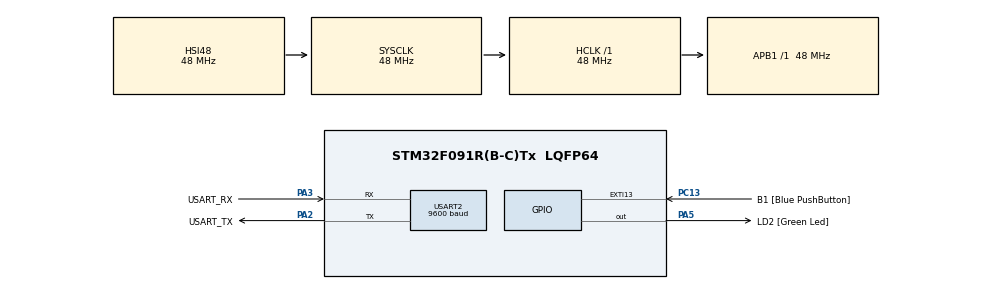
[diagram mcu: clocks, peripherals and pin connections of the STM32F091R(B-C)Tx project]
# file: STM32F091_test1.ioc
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Mcu.Family=STM32F0
Mcu.Name=STM32F091R(B-C)Tx
Mcu.Package=LQFP64
PA13.GPIO_Label=TMS
PA13.Signal=SYS_SWDIO
PA14.GPIO_Label=TCK
PA14.Signal=SYS_SWCLK
PA2.GPIO_Label=USART_TX
PA2.GPIO_Mode=GPIO_MODE_AF_PP
PA2.GPIO_PuPd=GPIO_NOPULL
PA2.GPIO_Speed=GPIO_SPEED_FREQ_LOW
PA2.Mode=Asynchronous
PA2.Signal=USART2_TX
PA3.GPIO_Label=USART_RX
PA3.GPIO_Mode=GPIO_MODE_AF_PP
PA3.GPIO_PuPd=GPIO_NOPULL
PA3.GPIO_Speed=GPIO_SPEED_FREQ_LOW
PA3.Mode=Asynchronous
PA3.Signal=USART2_RX
PA5.GPIO_Label=LD2 [Green Led]
PA5.GPIO_Mode=GPIO_MODE_OUTPUT_PP
PA5.GPIO_PuPd=GPIO_NOPULL
PA5.GPIO_Speed=GPIO_SPEED_FREQ_LOW
PA5.Signal=GPIO_Output
PC13.GPIO_Label=B1 [Blue PushButton]
PC13.GPIO_ModeDefaultEXTI=GPIO_MODE_IT_FALLING
PC13.Signal=GPXTI13
PC14OSC32_IN.Signal=RCC_OSC32_IN
PC15OSC32_OUT.Signal=RCC_OSC32_OUT
PF0-OSC_IN.Signal=RCC_OSC_IN
PF1-OSC_OUT.Signal=RCC_OSC_OUT
ProjectManager.HeapSize=0x200
ProjectManager.StackSize=0x400
ProjectManager.TargetToolchain=SW4STM32
RCC.AHBFreq_Value=48000000
RCC.APB1Freq_Value=48000000
RCC.APB1TimFreq_Value=48000000
RCC.FLatency-AdvancedSettings=FLASH_LATENCY_1
RCC.HCLKFreq_Value=48000000
RCC.PLLDivider=RCC_PREDIV_DIV2
RCC.PLLMUL=RCC_PLL_MUL12
RCC.PREFETCH_ENABLE-AdvancedSettings=1
RCC.SYSCLKFreq_VALUE=48000000
RCC.SYSCLKSource=RCC_SYSCLKSOURCE_HSI48
USART2.BaudRate=9600
USART2.VirtualMode-Asynchronous=VM_ASYNC
USART2.WordLength=WORDLENGTH_8B
board=NUCLEO-F091RC

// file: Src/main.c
/**
  ******************************************************************************
  * File Name          : main.c
  * Description        : Main program body
  ******************************************************************************
  ** This notice applies to any and all portions of this file
  * that are not between comment pairs USER CODE BEGIN and
  * USER CODE END. Other portions of this file, whether
  * inserted by the user or by software development tools
  * are owned by their respective copyright owners.
  *
  * COPYRIGHT(c) 2018 STMicroelectronics
  *
  * Redistribution and use in source and binary forms, with or without modification,
  * are permitted provided that the following conditions are met:
  *   1. Redistributions of source code must retain the above copyright notice,
  *      this list of conditions and the following disclaimer.
  *   2. Redistributions in binary form must reproduce the above copyright notice,
  *      this list of conditions and the following disclaimer in the documentation
  *      and/or other materials provided with the distribution.
  *   3. Neither the name of STMicroelectronics nor the names of its contributors
  *      may be used to endorse or promote products derived from this software
  *      without specific prior written permission.
  *
  * THIS SOFTWARE IS PROVIDED BY THE COPYRIGHT HOLDERS AND CONTRIBUTORS "AS IS"
  * AND ANY EXPRESS OR IMPLIED WARRANTIES, INCLUDING, BUT NOT LIMITED TO, THE
  * IMPLIED WARRANTIES OF MERCHANTABILITY AND FITNESS FOR A PARTICULAR PURPOSE ARE
  * DISCLAIMED. IN NO EVENT SHALL THE COPYRIGHT HOLDER OR CONTRIBUTORS BE LIABLE
  * FOR ANY DIRECT, INDIRECT, INCIDENTAL, SPECIAL, EXEMPLARY, OR CONSEQUENTIAL
  * DAMAGES (INCLUDING, BUT NOT LIMITED TO, PROCUREMENT OF SUBSTITUTE GOODS OR
  * SERVICES; LOSS OF USE, DATA, OR PROFITS; OR BUSINESS INTERRUPTION) HOWEVER
  * CAUSED AND ON ANY THEORY OF LIABILITY, WHETHER IN CONTRACT, STRICT LIABILITY,
  * OR TORT (INCLUDING NEGLIGENCE OR OTHERWISE) ARISING IN ANY WAY OUT OF THE USE
  * OF THIS SOFTWARE, EVEN IF ADVISED OF THE POSSIBILITY OF SUCH DAMAGE.
  *
  ******************************************************************************
  */

#include "main.h"
#include "stm32f0xx_hal.h"
#include "stdio.h";
#include <string.h>
/* USER CODE BEGIN Includes */

char aTxBuffer[1024]; // maximum of 1024 chars out - no error checking
char aRxBuffer[10]; // maximum of 10 chars in - no error checking

/* USER CODE END Includes */

UART_HandleTypeDef huart2;

/* USER CODE BEGIN PV */
/* Private variables ---------------------------------------------------------*/
typedef enum {
	pin_set,
	pin_reset
} state;

/* USER CODE END PV */

void SystemClock_Config(void);
static void MX_GPIO_Init(void);
static void MX_USART2_UART_Init(void);
void print_menu(void);

/* USER CODE BEGIN PFP */
/* Private function prototypes -----------------------------------------------*/

/* USER CODE END PFP */

int main(void)
{

  /* USER CODE BEGIN 1 */

	uint8_t spi_tx_data[2] = {0x00, 0x00}; //data,command = set to NOP command initially
	uint8_t spi_data=0;
	uint8_t spi_command=0;
	int8_t a=1;
	state npress = pin_reset;
	int16_t time=400;
	//char text[]="i am fast slow fun and \r\n";
	int f;

	// buffer to receive commands - no error checking
	uint8_t command_buffer[1024]; // set up command buffer & write pointer to it
	uint8_t command_buffer_rx=0;
	uint8_t command_received = 0; // set to 1 when we get a CR to indicate a command
	uint8_t value;

  /* USER CODE END 1 */

  /* MCU Configuration----------------------------------------------------------*/

  /* Reset of all peripherals, Initializes the Flash interface and the Systick. */
  HAL_Init();

  /* Configure the system clock */
  SystemClock_Config();

  /* Initialize all configured peripherals */
  MX_GPIO_Init();
  MX_USART2_UART_Init();

  /* USER CODE BEGIN 2 */
  spi_command=0;
  spi_data=0;
  spi_tx_data[1]=spi_command;
  spi_tx_data[0]=spi_data;

  /* print the menu */

  print_menu();

  /* USER CODE END 2 */

  /* Infinite loop */
  while (1)
  {
	  /* the line below is polling for the uart */
	  if (HAL_UART_Receive(&huart2,&aRxBuffer, 1, 10) == HAL_OK) // wait 10ms for a character
	  {
		  for (f=0;f<strlen(aRxBuffer);f++)
		  {
			  command_buffer[command_buffer_rx++] = aRxBuffer[f];
			  HAL_UART_Transmit(&huart2, &command_buffer[command_buffer_rx], 1, 100); //echo type

			  if (aRxBuffer[f] == 13) //CR
			  {
				  command_buffer[command_buffer_rx-1] = 0; // terminate string and remoce CR
				  command_received = 1; // indicate command ready to be processed
			  }
		  }

	  // if we have received a complete command ( terminated by CR ), echo it out
	 if (command_received != 0)
		  {
		 	// echo out the command
			sprintf(aTxBuffer, "Received: %s \n\r",command_buffer);
			HAL_UART_Transmit(&huart2, &aTxBuffer, strlen(aTxBuffer)+3, 5000);

			// no checking for command being formatted correctly
			// commands are:
			// pxx where xx = 00 to 99 - sets pwm width

			switch (command_buffer[0])
			{
			case 't':
				sprintf(aTxBuffer, "time is %d \n\r",time);
				HAL_UART_Transmit(&huart2,&aTxBuffer, strlen(aTxBuffer), 5000);
				break;
			case 'v':
				value = ((command_buffer[1]-'0') * 10) + (command_buffer[2]-'0');
				sprintf(aTxBuffer, "Averaging set to: %d\n\r",value);
				HAL_UART_Transmit(&huart2,&aTxBuffer, strlen(aTxBuffer), 5000);
				break;
			case '?':
				print_menu();
				break;

			default: // not recognised
				break;
			}
			// reset command buffer ready for the next command
			command_received = 0;
			command_buffer_rx = 0;
		  }
}
  /* USER CODE BEGIN 3 */
	  if(( HAL_GPIO_ReadPin(B1_GPIO_Port,B1_Pin)==GPIO_PIN_SET) && (npress==pin_reset) && (a<=3)){
	 		npress=pin_set;
	 			a++;
	 			sprintf(aTxBuffer, "time %d\n\r",time>>a);
	 			HAL_UART_Transmit(&huart2,&aTxBuffer,strlen(aTxBuffer)+2,0xFFF);
	 		 } else if( ( HAL_GPIO_ReadPin(B1_GPIO_Port,B1_Pin)==GPIO_PIN_SET) && (npress==pin_set)&& (a<=3)) {
	 			 npress=pin_set;
	 		 } else if ( ( HAL_GPIO_ReadPin(B1_GPIO_Port,B1_Pin)==GPIO_PIN_SET) && (npress==pin_set)&& (a>3)){
	 			 npress=pin_set;
	 			 a=1;
	 		 }

	 		 else {
	 			 npress =pin_reset;
	 		 }
	 		  HAL_GPIO_TogglePin(LD2_GPIO_Port, LD2_Pin); // Toggle the state of LED2
	 		  HAL_GPIO_TogglePin(GPIOC,GPIO_PIN_9);
	 		  HAL_Delay(time>>a); //delay 100ms

  /* USER CODE END 3 */

  }
}

/** System Clock Configuration
*/
void SystemClock_Config(void)
{

  RCC_OscInitTypeDef RCC_OscInitStruct;
  RCC_ClkInitTypeDef RCC_ClkInitStruct;
  RCC_PeriphCLKInitTypeDef PeriphClkInit;

    /**Initializes the CPU, AHB and APB busses clocks
    */
  RCC_OscInitStruct.OscillatorType = RCC_OSCILLATORTYPE_HSI48;
  RCC_OscInitStruct.HSI48State = RCC_HSI48_ON;
  RCC_OscInitStruct.PLL.PLLState = RCC_PLL_NONE;
  if (HAL_RCC_OscConfig(&RCC_OscInitStruct) != HAL_OK)
  {
    _Error_Handler(__FILE__, __LINE__);
  }

    /**Initializes the CPU, AHB and APB busses clocks
    */
  RCC_ClkInitStruct.ClockType = RCC_CLOCKTYPE_HCLK|RCC_CLOCKTYPE_SYSCLK
                              |RCC_CLOCKTYPE_PCLK1;
  RCC_ClkInitStruct.SYSCLKSource = RCC_SYSCLKSOURCE_HSI48;
  RCC_ClkInitStruct.AHBCLKDivider = RCC_SYSCLK_DIV1;
  RCC_ClkInitStruct.APB1CLKDivider = RCC_HCLK_DIV1;

  if (HAL_RCC_ClockConfig(&RCC_ClkInitStruct, FLASH_LATENCY_1) != HAL_OK)
  {
    _Error_Handler(__FILE__, __LINE__);
  }

  PeriphClkInit.PeriphClockSelection = RCC_PERIPHCLK_USART2;
  PeriphClkInit.Usart2ClockSelection = RCC_USART2CLKSOURCE_PCLK1;
  if (HAL_RCCEx_PeriphCLKConfig(&PeriphClkInit) != HAL_OK)
  {
    _Error_Handler(__FILE__, __LINE__);
  }

    /**Configure the Systick interrupt time
    */
  HAL_SYSTICK_Config(HAL_RCC_GetHCLKFreq()/1000);

    /**Configure the Systick
    */
  HAL_SYSTICK_CLKSourceConfig(SYSTICK_CLKSOURCE_HCLK);

  /* SysTick_IRQn interrupt configuration */
  HAL_NVIC_SetPriority(SysTick_IRQn, 0, 0);
}

/* USART2 init function */
static void MX_USART2_UART_Init(void)
{

  huart2.Instance = USART2;
  huart2.Init.BaudRate = 9600;
  huart2.Init.WordLength = UART_WORDLENGTH_8B;
  huart2.Init.StopBits = UART_STOPBITS_1;
  huart2.Init.Parity = UART_PARITY_NONE;
  huart2.Init.Mode = UART_MODE_TX_RX;
  huart2.Init.HwFlowCtl = UART_HWCONTROL_NONE;
  huart2.Init.OverSampling = UART_OVERSAMPLING_16;
  huart2.Init.OneBitSampling = UART_ONE_BIT_SAMPLE_DISABLE;
  huart2.AdvancedInit.AdvFeatureInit = UART_ADVFEATURE_NO_INIT;
  if (HAL_UART_Init(&huart2) != HAL_OK)
  {
    _Error_Handler(__FILE__, __LINE__);
  }

}

/** Configure pins as
        * Analog
        * Input
        * Output
        * EVENT_OUT
        * EXTI
*/
static void MX_GPIO_Init(void)
{

  GPIO_InitTypeDef GPIO_InitStruct;

  /* GPIO Ports Clock Enable */
  __HAL_RCC_GPIOC_CLK_ENABLE();
  __HAL_RCC_GPIOF_CLK_ENABLE();
  __HAL_RCC_GPIOA_CLK_ENABLE();

  /*Configure GPIO pin Output Level */
  HAL_GPIO_WritePin(LD2_GPIO_Port, LD2_Pin, GPIO_PIN_RESET);

  /*Configure GPIO pin : B1_Pin */
  GPIO_InitStruct.Pin = B1_Pin;
  GPIO_InitStruct.Mode = GPIO_MODE_IT_FALLING;
  GPIO_InitStruct.Pull = GPIO_NOPULL;
  HAL_GPIO_Init(B1_GPIO_Port, &GPIO_InitStruct);

  /*Configure GPIO pin : LD2_Pin */
  GPIO_InitStruct.Pin = LD2_Pin;
  GPIO_InitStruct.Mode = GPIO_MODE_OUTPUT_PP;
  GPIO_InitStruct.Pull = GPIO_NOPULL;
  GPIO_InitStruct.Speed = GPIO_SPEED_FREQ_LOW;
  HAL_GPIO_Init(LD2_GPIO_Port, &GPIO_InitStruct);

}

void print_menu (void){
	sprintf(aTxBuffer, "pxx where xx is a number from 0 to 99. It changes the time \n\r");
	HAL_UART_Transmit(&huart2,&aTxBuffer, strlen(aTxBuffer)+3, 5000); //include character array
	sprintf(aTxBuffer, "print this menu \n\r");
	HAL_UART_Transmit(&huart2,&aTxBuffer, strlen(aTxBuffer)+3, 5000); //include character array
}

/* Format the transmit buffer */

int format_transmmit_buffer (char * tx_buffer, char * message, char * data_string){
}

void _Error_Handler(char * file, int line)
{
  while(1)
  {
  }
}

/************************ (C) COPYRIGHT STMicroelectronics *****END OF FILE****/
